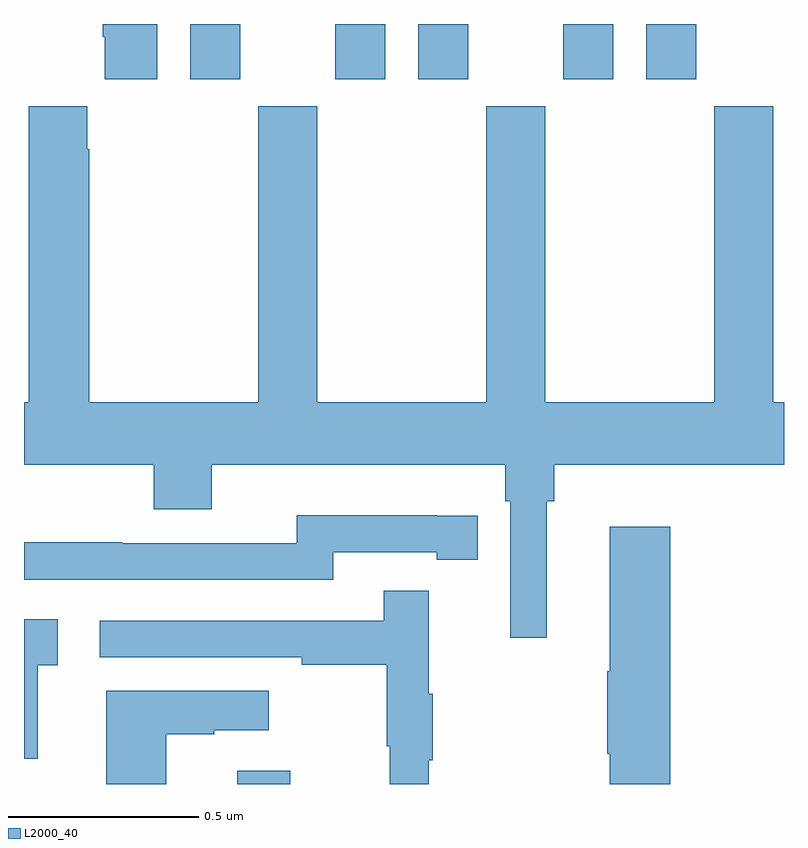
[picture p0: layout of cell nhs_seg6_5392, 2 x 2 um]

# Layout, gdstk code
import gdstk
lib = gdstk.Library(unit=1e-6, precision=1e-09)
def R(c, l, rs):  # rectangles x0, y0, x1, y1
    for r in rs: c.add(gdstk.rectangle(r[:2], r[2:], *l))
def P(c, l, *ps):  # polygons
    for p in ps: c.add(gdstk.Polygon(p, *l))
L2000_40 = (2000, 40)

nhs_seg6_5392 = lib.new_cell('nhs_seg6_5392')
R(nhs_seg6_5392, L2000_40, [(182.561,942.5,182.701,942.535), (182.438,944.355,182.569,944.5), (182.819,944.355,182.95,944.5), (183.038,944.355,183.169,944.5), (183.419,944.355,183.55,944.5), (183.638,944.355,183.769,944.5)])
P(nhs_seg6_5392, L2000_40, [(182.35,944.5),(182.207,944.5),(182.207,944.467),(182.213,944.467),(182.213,944.355),(182.35,944.355)],
  [(183.376,943.244),(183.395,943.244),(183.395,943.34),(184,943.34),(184,943.504),(183.972,943.504),(183.972,944.284),(183.817,944.284),(183.817,943.504),(183.372,943.504),(183.372,944.284),(183.217,944.284),(183.217,943.504),(182.772,943.504),(182.772,944.284),(182.617,944.284),(182.617,943.504),(182.172,943.504),(182.172,944.171),(182.167,944.171),(182.167,944.284),(182.012,944.284),(182.012,943.504),(182,943.504),(182,943.34),(182.342,943.34),(182.342,943.223),(182.494,943.223),(182.494,943.34),(183.266,943.34),(183.266,943.244),(183.279,943.244),(183.279,942.885),(183.376,942.885)],
  [(182.814,943.11),(183.086,943.11),(183.086,943.09),(183.194,943.09),(183.194,943.206),(183.086,943.206),(183.086,943.207),(182.718,943.207),(182.718,943.134),(182.258,943.134),(182.258,943.136),(182,943.136),(182,943.038),(182.814,943.038)],
  [(183.701,943.177),(183.542,943.177),(183.542,942.797),(183.535,942.797),(183.535,942.58),(183.542,942.58),(183.542,942.5),(183.701,942.5)],
  [(183.065,942.563),(183.076,942.563),(183.076,942.737),(183.065,942.737),(183.065,943.009),(182.947,943.009),(182.947,942.93),(182.199,942.93),(182.199,942.834),(182.731,942.834),(182.731,942.814),(182.955,942.814),(182.955,942.6),(182.962,942.6),(182.962,942.5),(183.065,942.5)],
  [(182.036,942.813),(182.089,942.813),(182.089,942.934),(182,942.934),(182,942.567),(182.036,942.567)],
  [(182.374,942.631),(182.501,942.631),(182.501,942.641),(182.644,942.641),(182.644,942.745),(182.216,942.745),(182.216,942.5),(182.374,942.5)])

lib.write_gds('nhs_seg6_5392.gds')
